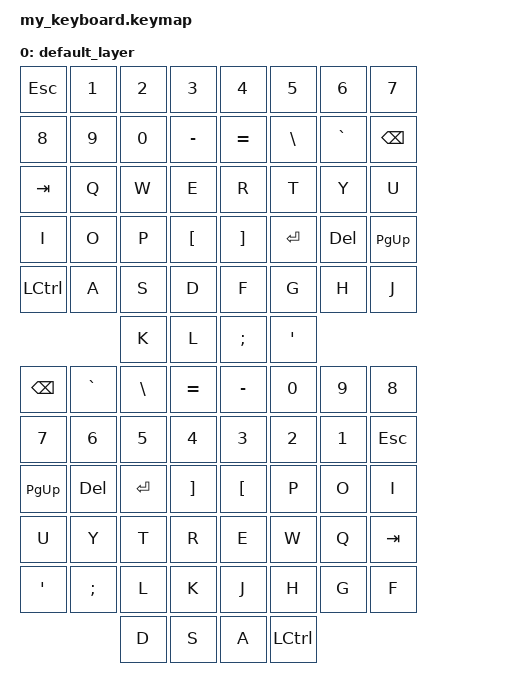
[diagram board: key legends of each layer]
#include <behaviors.dtsi>
#include <dt-bindings/zmk/keys.h>
#include <dt-bindings/zmk/rgb.h>

/ {
    keymap {
        compatible = "zmk,keymap";
        default_layer {
            // Combined bindings for both halves (88 total)
            bindings = <
                /* Left Half - Row 0 (Mux 0) */
                &kp ESC   &kp N1   &kp N2   &kp N3   &kp N4   &kp N5   &kp N6   &kp N7
                &kp N8   &kp N9   &kp N0   &kp MINUS &kp EQUAL &kp BSLH &kp GRAVE &kp BSPC

                /* Left Half - Row 1 (Mux 1) */
                &kp TAB  &kp Q    &kp W    &kp E    &kp R    &kp T    &kp Y    &kp U
                &kp I    &kp O    &kp P    &kp LBKT &kp RBKT &kp RET  &kp DEL  &kp PG_UP

                /* Left Half - Row 2 (Mux 2) */
                &kp LCTRL &kp A   &kp S    &kp D    &kp F    &kp G    &kp H    &kp J
                &kp K    &kp L    &kp SEMI &kp SQT

                /* Right Half - Row 3 (Mux 0) */
                &kp BSPC &kp GRAVE &kp BSLH &kp EQUAL &kp MINUS &kp N0 &kp N9 &kp N8
                &kp N7 &kp N6 &kp N5 &kp N4 &kp N3 &kp N2 &kp N1 &kp ESC

                /* Right Half - Row 4 (Mux 1) */
                &kp PG_UP &kp DEL &kp RET &kp RBKT &kp LBKT &kp P &kp O &kp I
                &kp U &kp Y &kp T &kp R &kp E &kp W &kp Q &kp TAB

                /* Right Half - Row 5 (Mux 2) */
                &kp SQT &kp SEMI &kp L &kp K &kp J &kp H &kp G &kp F
                &kp D &kp S &kp A &kp LCTRL
            >;
        };
    };
};
